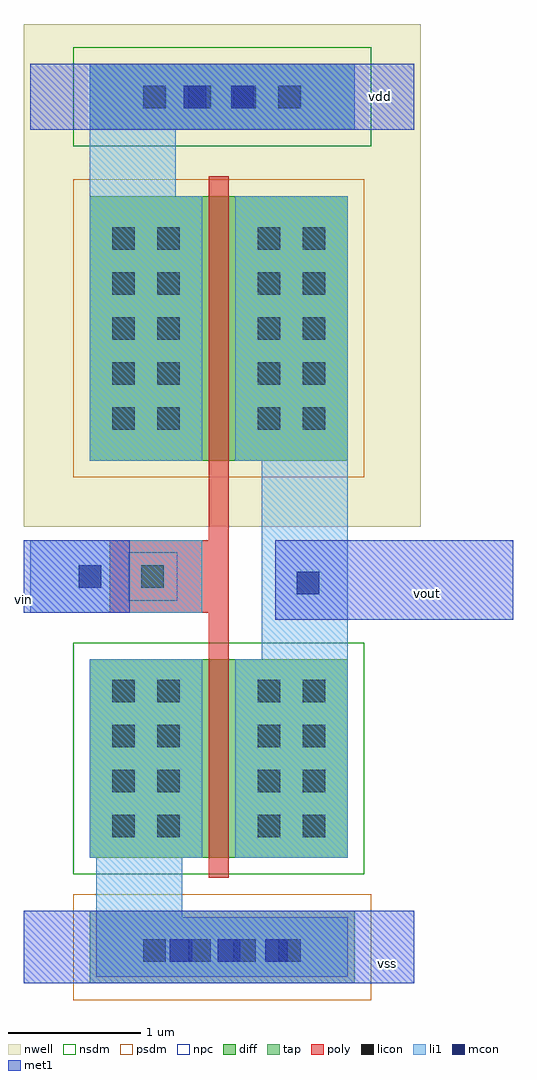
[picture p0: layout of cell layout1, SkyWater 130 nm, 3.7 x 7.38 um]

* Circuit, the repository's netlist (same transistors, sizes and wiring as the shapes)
* SPICE3 file created from layout1.ext - technology: sky130A

X0 vout vin vss vss sky130_fd_pr__nfet_01v8 ad=1.35 pd=4.8 as=1.35 ps=4.8 w=1.5 l=0.15
X1 vout vin vdd vdd sky130_fd_pr__pfet_01v8 ad=1.8 pd=5.8 as=1.8 ps=5.8 w=2 l=0.15

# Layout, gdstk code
import gdstk
lib = gdstk.Library(unit=1e-6, precision=1e-09)
def R(c, l, rs):  # rectangles x0, y0, x1, y1
    for r in rs: c.add(gdstk.rectangle(r[:2], r[2:], *l))
def A(c, l, x, y, w, h, nx, ny, dx, dy):  # array of equal rectangles
    R(c, l, [(x+i*dx, y+j*dy, x+i*dx+w, y+j*dy+h) for i in range(nx) for j in range(ny)])
nwell = (64, 20)
diff = (65, 20)
tap = (65, 44)
poly = (66, 20)
licon = (66, 44)
li1 = (67, 20)
mcon = (67, 44)
met1 = (68, 20)
nsdm = (93, 44)
psdm = (94, 20)
npc = (95, 20)

layout1 = lib.new_cell('layout1')
R(layout1, nwell, [(-3.5,0,-0.5,3.8)])
R(layout1, diff, [(-3,-2.5,-1.05,-1), (-3,0.5,-1.05,2.5)])
R(layout1, tap, [(-3,-3.45,-1,-2.9), (-3,3,-1,3.5)])
R(layout1, poly, [(-2.1,-2.65,-1.95,-0.65), (-2.85,-0.65,-1.95,-0.1), (-2.1,-0.1,-1.95,2.65)])
A(layout1, licon, -2.595, -3.285, 0.17, 0.17, 4, 2, 0.34, 6.45)
A(layout1, licon, -2.83, -2.345, 0.17, 0.17, 1, 4, 0, 0.34)
A(layout1, licon, -2.49, -2.345, 0.17, 0.17, 1, 4, 0, 0.34)
A(layout1, licon, -1.73, -2.345, 0.17, 0.17, 1, 4, 0, 0.34)
A(layout1, licon, -1.39, -2.345, 0.17, 0.17, 1, 4, 0, 0.34)
A(layout1, licon, -2.83, 0.735, 0.17, 0.17, 1, 5, 0, 0.34)
A(layout1, licon, -2.49, 0.735, 0.17, 0.17, 1, 5, 0, 0.34)
A(layout1, licon, -1.73, 0.735, 0.17, 0.17, 1, 5, 0, 0.34)
A(layout1, licon, -1.39, 0.735, 0.17, 0.17, 1, 5, 0, 0.34)
R(layout1, licon, [(-2.61,-0.46,-2.44,-0.29)])
R(layout1, li1, [(-2.95,-3.4,-1.05,-2.95), (-2.95,-2.95,-2.3,-2.5), (-3,-2.5,-2.15,-1), (-1.9,-2.5,-1.05,-1), (-1.7,-1,-1.05,0.5), (-3.45,-0.65,-2.15,-0.1), (-3,0.5,-2.15,2.5), (-1.9,0.5,-1.05,2.5), (-3,2.5,-2.35,3), (-3,3,-1,3.5)])
A(layout1, mcon, -2.395, -3.285, 0.17, 0.17, 3, 1, 0.36, 0)
R(layout1, mcon, [(-1.435,-0.51,-1.265,-0.34), (-3.085,-0.46,-2.915,-0.29), (-2.29,3.165,-2.12,3.335), (-1.93,3.165,-1.76,3.335)])
R(layout1, met1, [(-3.5,-3.45,-0.55,-2.9), (-1.6,-0.7,0.2,-0.1), (-3.5,-0.65,-2.7,-0.1), (-3.45,3,-0.55,3.5)])
R(layout1, nsdm, [(-3.125,-2.625,-0.925,-0.875), (-3.125,2.875,-0.875,3.625)])
R(layout1, psdm, [(-3.125,-3.575,-0.875,-2.775), (-3.125,0.375,-0.925,2.625)])
R(layout1, npc, [(-2.71,-0.56,-2.34,-0.19)])
layout1.add(gdstk.Label('vin', (-3.5,-0.55), layer=68, texttype=5))
layout1.add(gdstk.Label('vout', (-0.45,-0.5), layer=68, texttype=5))
layout1.add(gdstk.Label('vss', (-0.75,-3.3), layer=68, texttype=5))
layout1.add(gdstk.Label('vdd', (-0.8,3.25), layer=68, texttype=5))

lib.write_gds('layout1.gds')
